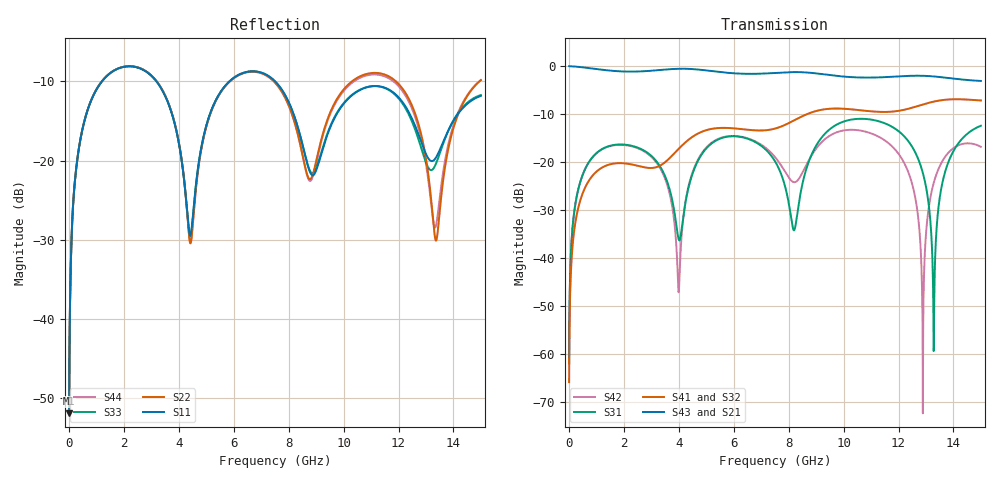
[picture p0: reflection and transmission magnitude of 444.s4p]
! Created with skrf 1.8.0 (http://scikit-rf.org).
# GHz S RI R 50.0
!freq ReS11 ImS11 ReS12 ImS12 ReS13 ImS13
! ReS14 ImS14
! ReS21 ImS21 ReS22 ImS22 ReS23 ImS23
! ReS24 ImS24
! ReS31 ImS31 ReS32 ImS32 ReS33 ImS33
! ReS34 ImS34
! ReS41 ImS41 ReS42 ImS42 ReS43 ImS43
! ReS44 ImS44
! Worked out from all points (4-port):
!   2499 points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, 5 MHz to 15 GHz, reference 50 ohm
!   strongest paths, dB at 5 MHz, 3.476 GHz, 7.19 GHz, 11.1 GHz, 15 GHz:
!     S43: 0.0, -0.7, -1.5, -2.4, -3.1
!     S21: 0.0, -0.7, -1.5, -2.4, -3.1
!     S41: -65.9, -20.1, -13.4, -9.5, -7.2
!     S32: -65.9, -20.2, -13.4, -9.6, -7.2
!     S31: -62.0, -22.6, -17.5, -11.2, -12.4
!     S42: -62.0, -23.1, -17.2, -14.2, -16.8
!   lowest |S11| = -51.9 dB at 5 MHz (marker M1), VSWR 1.01, Z = 50.2 + j0.155 ohm
!   |S11| at or under -10 dB: start of sweep to 1.197 GHz; 3.188 GHz to 5.84 GHz (2.652 GHz wide, 58.8 % of centre); 7.51 GHz to end of sweep
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0.005  0.00203 0.00154  0.9979 -0.00394  0.000103 0.000791  -9.98e-05 -0.000499
       0.9979 -0.00394  0.00203 0.00154  -9.98e-05 -0.000499  0.000103 0.000791
       0.000103 0.000791  -9.98e-05 -0.000499  0.00203 0.00154  0.9979 -0.00394
       -9.98e-05 -0.000499  0.000103 0.000791  0.9979 -0.00394  0.00203 0.00154
1.3193  0.2868 0.172  0.5131 -0.749  0.1316 0.053  -0.091 -0.000496
        0.5131 -0.749  0.2878 0.1713  -0.0909 -0.000618  0.1292 0.0565
        0.1316 0.053  -0.0909 -0.000618  0.2869 0.172  0.5131 -0.7489
        -0.091 -0.000496  0.1292 0.0565  0.5131 -0.7489  0.2877 0.1714
3.990909  0.0675 -0.1134  -0.8674 -0.3555  -0.0144 -0.00642  -0.0472 0.1287
          -0.8674 -0.3555  0.0643 -0.1166  -0.0486 0.1281  -0.00421 -0.00129
          -0.0144 -0.00642  -0.0486 0.1281  0.0674 -0.114  -0.8673 -0.3556
          -0.0472 0.1287  -0.00421 -0.00129  -0.8673 -0.3556  0.0648 -0.117
6.890371  0.3616 -0.0422  0.0244 0.8312  0.1319 -0.0816  0.2021 -0.0683
          0.0244 0.8312  0.3595 -0.0449  0.2023 -0.0644  0.1297 -0.0912
          0.1319 -0.0816  0.2023 -0.0644  0.361 -0.0425  0.0246 0.8317
          0.2021 -0.0683  0.1297 -0.0912  0.0246 0.8317  0.3577 -0.0446
11.49854  0.2854 -0.0447  -0.0136 -0.7646  0.1736 -0.1848  -0.3211 0.0868
          -0.0136 -0.7646  0.3327 -0.1069  -0.3198 0.0751  0.1559 -0.0636
          0.1736 -0.1848  -0.3198 0.0751  0.2823 -0.0547  -0.0148 -0.7666
          -0.3211 0.0868  0.1559 -0.0636  -0.0148 -0.7666  0.3257 -0.0987
13.28679  0.0999 0.0125  -0.7516 -0.2065  -0.000264 0.0011  -0.0909 0.4169
          -0.7516 -0.2065  0.0311 -0.0213  -0.1076 0.413  0.0133 0.0598
          -0.000264 0.0011  -0.1076 0.413  0.0883 0.0174  -0.7531 -0.2027
          -0.0909 0.4169  0.0133 0.0598  -0.7531 -0.2027  0.0377 -0.012
15  0.2453 0.0746  -0.4288 0.554  0.1928 -0.1413  0.3815 0.2154
    -0.4288 0.554  0.2927 0.1354  0.3716 0.23  0.1435 -0.0144
    0.1928 -0.1413  0.3716 0.23  0.2484 0.0751  -0.4266 0.555
    0.3815 0.2154  0.1435 -0.0144  -0.4266 0.555  0.2937 0.1338
